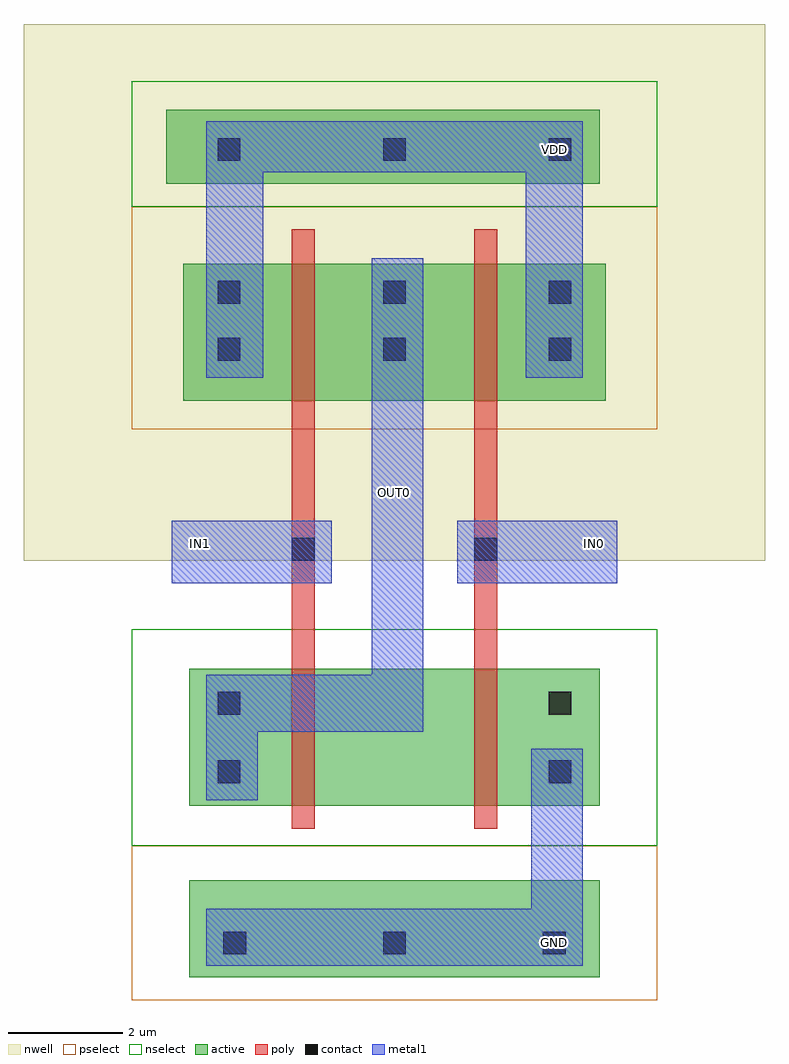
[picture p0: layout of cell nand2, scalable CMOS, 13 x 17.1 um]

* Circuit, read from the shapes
.subckt nand2 GND IN0 IN1 OUT0 VDD
M1 n1 IN1 OUT0 GND nfet w=2.4u l=0.4u
M2 GND IN0 n1 GND nfet w=2.4u l=0.4u
M3 OUT0 IN1 VDD VDD pfet w=2.4u l=0.4u
M4 VDD IN0 OUT0 VDD pfet w=2.4u l=0.4u
.ends

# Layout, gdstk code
import gdstk
lib = gdstk.Library(unit=1e-6, precision=1e-09)
def R(c, l, rs):  # rectangles x0, y0, x1, y1
    for r in rs: c.add(gdstk.rectangle(r[:2], r[2:], *l))
def A(c, l, x, y, w, h, nx, ny, dx, dy):  # array of equal rectangles
    R(c, l, [(x+i*dx, y+j*dy, x+i*dx+w, y+j*dy+h) for i in range(nx) for j in range(ny)])
contact = (25, 0)
nwell = (42, 0)
active = (43, 0)
pselect = (44, 0)
nselect = (45, 0)
poly = (46, 0)
metal1 = (49, 0)

nand2 = lib.new_cell('nand2')
A(nand2, contact, -19.4, 11.7, 0.4, 0.4, 3, 1, 2.8, 0)
A(nand2, contact, -19.5, 22.1, 0.4, 0.4, 3, 2, 2.9, 1)
R(nand2, contact, [(-19.5,14.7,-19.1,15.1), (-13.7,14.7,-13.3,15.1), (-19.5,15.9,-19.1,16.3), (-13.7,15.9,-13.3,16.3), (-18.2,18.6,-17.8,19), (-15,18.6,-14.6,19), (-19.5,25.6,-19.1,26), (-16.6,25.6,-16.2,26), (-16.6,25.6,-16.2,26), (-13.7,25.6,-13.3,26)])
R(nand2, nwell, [(-22.9,18.6,-13.4,28), (-19.4,18.6,-9.9,28)])
R(nand2, active, [(-20,11.3,-15.7,13), (-17.1,11.3,-12.8,13), (-20,14.3,-15.7,16.7), (-17.1,14.3,-12.8,16.7), (-20.1,21.4,-15.5,23.8), (-17.3,21.4,-12.7,23.8), (-20.4,25.2,-15.5,26.5), (-17.4,25.2,-12.8,26.5)])
R(nand2, pselect, [(-21,10.9,-15,13.6), (-17.8,10.9,-11.8,13.6), (-21,20.9,-14.9,24.8), (-17.9,20.9,-11.8,24.8)])
R(nand2, nselect, [(-21,13.6,-15,17.4), (-17.8,13.6,-11.8,17.4), (-21,24.8,-14.9,27), (-17.9,24.8,-11.8,27)])
R(nand2, poly, [(-18.2,13.9,-17.8,24.4), (-15,13.9,-14.6,24.4)])
R(nand2, metal1, [(-19.7,11.5,-15.9,12.5), (-16.9,11.5,-13.1,12.5), (-14,11.5,-13.1,15.3), (-19.7,14.4,-18.8,16.6), (-19.7,15.6,-15.9,16.6), (-16.8,15.6,-15.9,23.9), (-20.3,18.2,-17.5,19.3), (-15.3,18.2,-12.5,19.3), (-19.7,21.8,-18.7,26.3), (-14.1,21.8,-13.1,26.3), (-19.7,25.4,-15.9,26.3), (-16.9,25.4,-13.1,26.3)])
nand2.add(gdstk.Label('VDD', (-13.6,25.8), layer=75, texttype=0))
nand2.add(gdstk.Label('GND', (-13.6,11.9), layer=75, texttype=0))
nand2.add(gdstk.Label('OUT0', (-16.4,19.8), layer=75, texttype=0))
nand2.add(gdstk.Label('IN0', (-12.9,18.9), layer=75, texttype=0))
nand2.add(gdstk.Label('IN1', (-19.8,18.9), layer=75, texttype=0))

lib.write_gds('nand2.gds')
